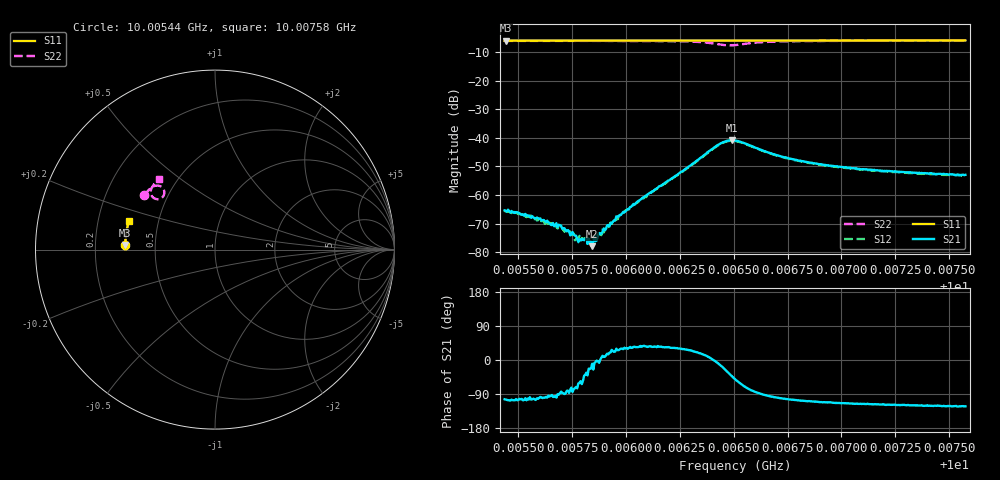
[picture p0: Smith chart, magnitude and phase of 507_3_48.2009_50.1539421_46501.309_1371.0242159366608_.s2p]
#  HZ  S  RI  R  50.00
! Rohde & Schwarz Vector Network Analyzer
! Rohde-Schwarz,ZNB20-2Port,1311601062101988,3.16
! Created: UTC 3/20/2024, 11:58:49 AM
! freq[Hz]  re:S11  im:S11  re:S21  im:S21  re:S12  im:S12  re:S22  im:S22
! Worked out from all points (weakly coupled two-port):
!   401 points, 10.00544 GHz to 10.00758 GHz, reference 50 ohm
!   highest |S21| = -40.87 dB at 10.00649 GHz (marker M1); lowest = -77.9 dB at 10.00584 GHz (marker M2)
!   lowest |S11| = -6.0 dB at 10.00544 GHz (marker M3), VSWR 3.01, Z = 16.6 + j1.13 ohm
!   |S11| at or under -10 dB: nowhere
!   |S22| runs from -7.7 to -6.0 dB; largest |S21 - S12| = 0.00056
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1.0005436e10  -0.5003 0.0251  -0.000126 -0.000522  -0.000101 -0.000518  -0.3932 0.3025
1.0005441e10  -0.5003 0.0254  -0.000133 -0.000513  -0.000104 -0.000503  -0.393 0.3028
1.0005553e10  -0.5001 0.0328  -5.85e-05 -0.000406  -6.01e-05 -0.000428  -0.3882 0.3097
1.0005687e10  -0.4998 0.0415  -8.66e-06 -0.000302  1.37e-05 -0.00028  -0.3819 0.3176
1.000573e10  -0.4996 0.0444  3.86e-05 -0.00024  6.04e-05 -0.000231  -0.3799 0.3202
1.0005762e10  -0.4993 0.0464  5.17e-05 -0.000187  8e-05 -0.000139  -0.3782 0.3223
1.0005783e10  -0.4993 0.0478  8.31e-05 -0.000145  9.71e-05 -0.000166  -0.377 0.3236
1.0005794e10  -0.4993 0.0485  7.22e-05 -0.000145  0.000104 -0.000142  -0.3767 0.3241
1.0005826e10  -0.4991 0.0506  0.000157 -6.65e-05  0.000144 -8.63e-05  -0.3749 0.3262
1.0005831e10  -0.4992 0.0509  0.000136 -5.85e-05  0.00016 -8.87e-05  -0.3746 0.3266
1.0005842e10  -0.4992 0.0516  0.000125 -2.2e-05  0.000172 -7.24e-05  -0.374 0.3272
1.0005853e10  -0.499 0.0524  0.000181 -2.4e-05  0.00019 -2.32e-05  -0.3733 0.3279
1.000589e10  -0.4989 0.0548  0.00022 4.32e-05  0.000248 3.01e-05  -0.3712 0.3303
1.0005965e10  -0.4984 0.0596  0.000386 0.000187  0.000373 0.000186  -0.3663 0.3353
1.0006153e10  -0.4971 0.0716  0.00115 0.000817  0.00109 0.000813  -0.3503 0.3485
1.000642e10  -0.4944 0.0889  0.0072 -0.000718  0.00705 -0.00035  -0.2853 0.3336
1.000649e10  -0.4935 0.0928  0.00673 -0.00605  0.00692 -0.00555  -0.298 0.2874
1.0006506e10  -0.4935 0.0936  0.00569 -0.00692  0.00595 -0.00647  -0.3089 0.2822
1.0006693e10  -0.4922 0.1057  -0.00073 -0.00501  -0.000482 -0.00495  -0.3581 0.3235
1.0006864e10  -0.4902 0.1166  -0.00119 -0.00345  -0.00106 -0.00343  -0.3512 0.3474
1.0007223e10  -0.4849 0.1393  -0.00123 -0.00231  -0.00107 -0.00231  -0.3318 0.3737
1.0007576e10  -0.4788 0.1611  -0.00119 -0.0019  -0.00108 -0.0019  -0.3135 0.3923
